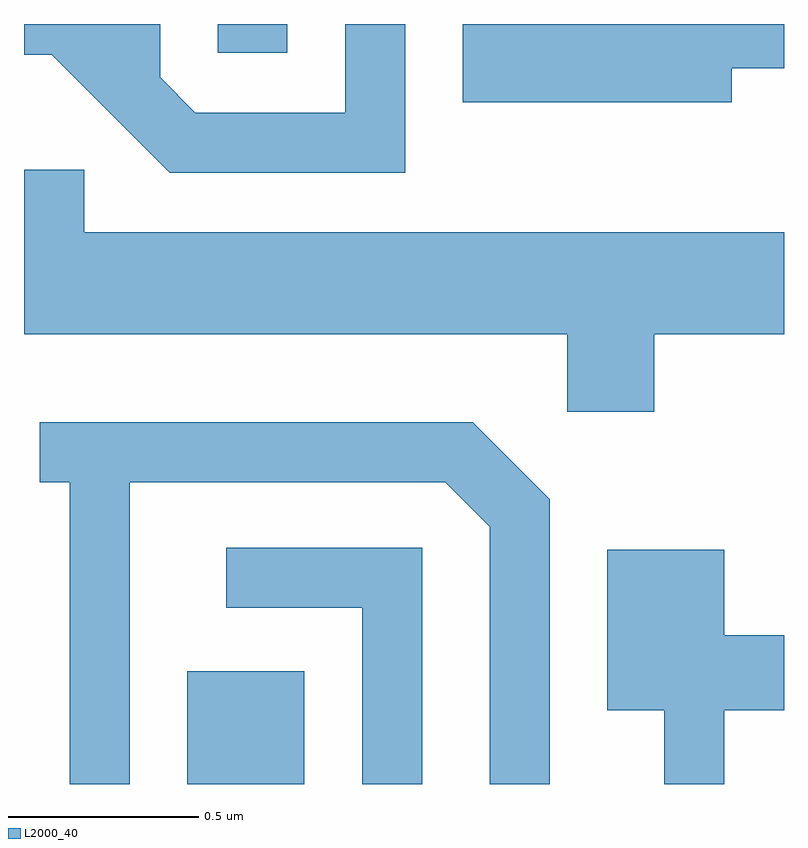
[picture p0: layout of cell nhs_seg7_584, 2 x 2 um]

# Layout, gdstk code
import gdstk
lib = gdstk.Library(unit=1e-6, precision=1e-09)
def R(c, l, rs):  # rectangles x0, y0, x1, y1
    for r in rs: c.add(gdstk.rectangle(r[:2], r[2:], *l))
def P(c, l, *ps):  # polygons
    for p in ps: c.add(gdstk.Polygon(p, *l))
L2000_40 = (2000, 40)

nhs_seg7_584 = lib.new_cell('nhs_seg7_584')
R(nhs_seg7_584, L2000_40, [(190.041,1704.252,190.349,1704.549), (190.121,1706.176,190.304,1706.252)])
P(nhs_seg7_584, L2000_40, [(190.614,1706.252),(190.456,1706.252),(190.456,1706.019),(190.062,1706.019),(189.969,1706.112),(189.969,1706.252),(189.611,1706.252),(189.611,1706.171),(189.684,1706.171),(189.994,1705.861),(190.614,1705.861)],
  [(191.474,1706.136),(191.611,1706.136),(191.611,1706.252),(190.766,1706.252),(190.766,1706.046),(191.474,1706.046)],
  [(191.269,1705.436),(191.611,1705.436),(191.611,1705.704),(189.769,1705.704),(189.769,1705.869),(189.611,1705.869),(189.611,1705.436),(191.041,1705.436),(191.041,1705.231),(191.269,1705.231)],
  [(189.889,1705.046),(190.719,1705.046),(190.836,1704.929),(190.836,1704.252),(190.994,1704.252),(190.994,1705.002),(190.792,1705.204),(189.653,1705.204),(189.653,1705.046),(189.731,1705.046),(189.731,1704.252),(189.889,1704.252)],
  [(190.659,1704.874),(190.143,1704.874),(190.143,1704.716),(190.501,1704.716),(190.501,1704.252),(190.659,1704.252)],
  [(191.454,1704.446),(191.611,1704.446),(191.611,1704.644),(191.454,1704.644),(191.454,1704.869),(191.146,1704.869),(191.146,1704.446),(191.296,1704.446),(191.296,1704.252),(191.454,1704.252)])

lib.write_gds('nhs_seg7_584.gds')
